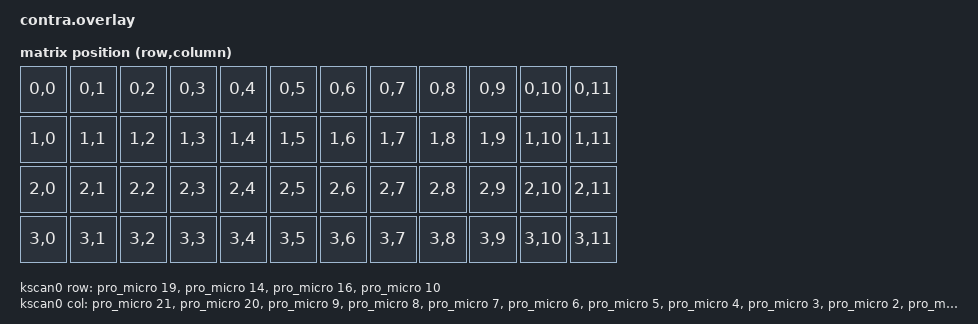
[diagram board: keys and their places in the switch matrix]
/*
 * Copyright (c) 2021 The ZMK Contributors
 *
 * SPDX-License-Identifier: MIT
 */

#include <dt-bindings/zmk/matrix_transform.h>

#include <layouts/common/ortho_4x12/all1u.dtsi>

/ {
    chosen {
        zmk,kscan = &kscan0;
        zmk,physical-layout = &layout_ortho_4x12_all1u;
    };

    matrix_transform_40_all1u: keymap_transform_0 {
        compatible = "zmk,matrix-transform";
        columns = <12>;
        rows = <4>;
        map = <
            RC(0,0) RC(0,1) RC(0,2) RC(0,3) RC(0,4) RC(0,5) RC(0,6) RC(0,7) RC(0,8) RC(0,9) RC(0,10) RC(0,11)
            RC(1,0) RC(1,1) RC(1,2) RC(1,3) RC(1,4) RC(1,5) RC(1,6) RC(1,7) RC(1,8) RC(1,9) RC(1,10) RC(1,11)
            RC(2,0) RC(2,1) RC(2,2) RC(2,3) RC(2,4) RC(2,5) RC(2,6) RC(2,7) RC(2,8) RC(2,9) RC(2,10) RC(2,11)
            RC(3,0) RC(3,1) RC(3,2) RC(3,3) RC(3,4) RC(3,5) RC(3,6) RC(3,7) RC(3,8) RC(3,9) RC(3,10) RC(3,11)
            >;
    };

    kscan0: kscan_0 {
        compatible = "zmk,kscan-gpio-matrix";
        wakeup-source;

        diode-direction = "col2row";

        col-gpios
            = <&pro_micro 21 GPIO_ACTIVE_HIGH>
            , <&pro_micro 20 GPIO_ACTIVE_HIGH>
            , <&pro_micro 9 GPIO_ACTIVE_HIGH>
            , <&pro_micro 8 GPIO_ACTIVE_HIGH>
            , <&pro_micro 7 GPIO_ACTIVE_HIGH>
            , <&pro_micro 6 GPIO_ACTIVE_HIGH>
            , <&pro_micro 5 GPIO_ACTIVE_HIGH>
            , <&pro_micro 4 GPIO_ACTIVE_HIGH>
            , <&pro_micro 3 GPIO_ACTIVE_HIGH>
            , <&pro_micro 2 GPIO_ACTIVE_HIGH>
            , <&pro_micro 0 GPIO_ACTIVE_HIGH>
            , <&pro_micro 1 GPIO_ACTIVE_HIGH>
            ;

        row-gpios
            = <&pro_micro 19 (GPIO_ACTIVE_HIGH | GPIO_PULL_DOWN)>
            , <&pro_micro 14 (GPIO_ACTIVE_HIGH | GPIO_PULL_DOWN)>
            , <&pro_micro 16 (GPIO_ACTIVE_HIGH | GPIO_PULL_DOWN)>
            , <&pro_micro 10 (GPIO_ACTIVE_HIGH | GPIO_PULL_DOWN)>
            ;
    };
};

&layout_ortho_4x12_all1u {
    transform = <&matrix_transform_40_all1u>;
};
